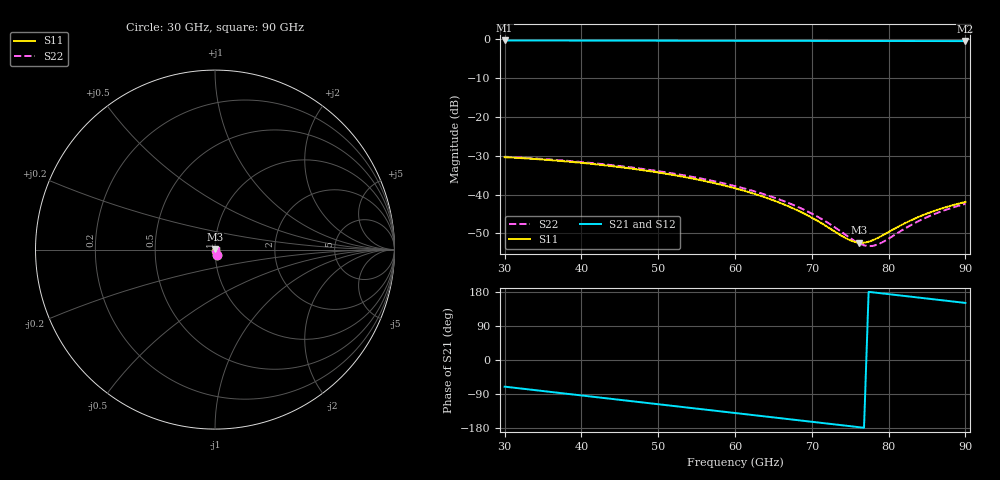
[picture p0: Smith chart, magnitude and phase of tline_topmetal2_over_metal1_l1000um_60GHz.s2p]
#  GHZ S DB R 50
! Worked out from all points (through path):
!   101 points, 30 GHz to 90 GHz, reference 50 ohm
!   highest |S21| = -0.36 dB at 30 GHz (marker M1); lowest = -0.5 dB at 90 GHz (marker M2)
!   group delay of S21, straight-line fit = 6.44 ps
!   lowest |S11| = -52.4 dB at 76.2 GHz (marker M3), VSWR 1.00, Z = 50 + j0.236 ohm
!   |S11| at or under -10 dB: start of sweep to end of sweep
!   |S22| runs from -53.3 to -30.3 dB; largest |S21 - S12| = 1.1e-14
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30  -30.39 -67.7  -0.36 -70.3  -0.36 -70.3  -30.28 -67.8
35.4  -31.06 -83.3  -0.38 -82.8  -0.38 -82.8  -30.91 -83.3
40.2  -31.88 -97.3  -0.39 -94.0  -0.39 -94.0  -31.68 -97.2
45  -32.93 -111.4  -0.41 -105.1  -0.41 -105.1  -32.68 -111.3
50.4  -34.45 -127.8  -0.42 -117.6  -0.42 -117.6  -34.11 -127.4
55.2  -36.18 -142.9  -0.44 -128.7  -0.44 -128.7  -35.74 -142.2
60  -38.39 -159.0  -0.45 -139.9  -0.45 -139.9  -37.82 -157.8
65.4  -41.79 -179.9  -0.46 -152.4  -0.46 -152.4  -41.01 -177.4
67.8  -43.77 168.7  -0.47 -157.9  -0.47 -157.9  -42.86 172.4
70.2  -46.17 154.4  -0.47 -163.5  -0.47 -163.5  -45.11 160.2
72  -48.29 140.1  -0.48 -167.7  -0.48 -167.7  -47.16 148.5
74.4  -51.21 111.3  -0.48 -173.2  -0.48 -173.2  -50.36 125.7
75.6  -52.20 91.3  -0.49 -176.0  -0.49 -176.0  -51.96 108.8
76.2  -52.41 80.2  -0.49 -177.4  -0.49 -177.4  -52.62 98.5
77.4  -52.15 58.3  -0.49 179.8  -0.49 179.8  -53.29 74.9
78  -51.72 48.3  -0.49 178.4  -0.49 178.4  -53.20 62.7
79.2  -50.53 31.3  -0.50 175.6  -0.50 175.6  -52.29 40.7
80.4  -49.20 18.0  -0.50 172.9  -0.50 172.9  -50.88 23.4
82.8  -46.74 -1.3  -0.51 167.3  -0.51 167.3  -47.99 0.3
85.2  -44.75 -15.1  -0.51 161.7  -0.51 161.7  -45.65 -15.0
87.6  -43.18 -26.3  -0.52 156.2  -0.52 156.2  -43.83 -26.7
90  -41.91 -36.1  -0.52 150.6  -0.52 150.6  -42.40 -36.7
